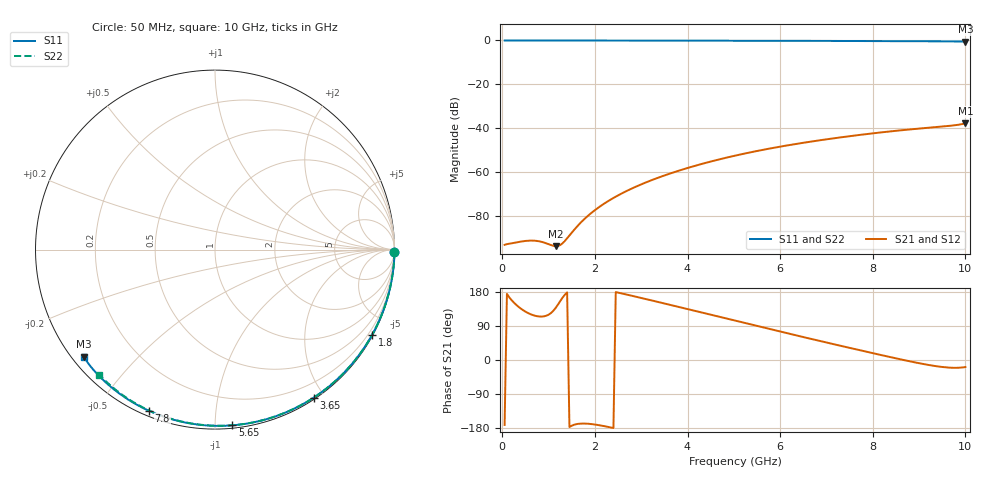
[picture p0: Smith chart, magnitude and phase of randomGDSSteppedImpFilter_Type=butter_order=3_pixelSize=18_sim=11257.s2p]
! freq	dB(S11)	phase(S11)	dB(S12)	phase(S12)
!  dB(S21)	phase(S21)	dB(S22)	phase(S22)
!S-par simulation data
#  GHz  S  DB  R 50
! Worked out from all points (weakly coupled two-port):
!   200 points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, 50 MHz to 10 GHz, reference 50 ohm
!   highest |S21| = -37.89 dB at 10 GHz (marker M1); lowest = -94.0 dB at 1.15 GHz (marker M2)
!   lowest |S11| = -0.5 dB at 10 GHz (marker M3), VSWR 34.01, Z = 1.66 - j17.8 ohm
!   |S11| at or under -10 dB: nowhere
!   |S22| runs from -0.5 to 0.0 dB; largest |S21 - S12| = 0
!   S11 on the Smith chart (normalised r, x): 50 MHz: open; 1.8 GHz: 0.03, -3.94; 3.65 GHz: 0.02, -1.87; 5.65 GHz: 0.02, -1.10; 7.8 GHz: 0.02, -0.67; 10 GHz: 0.03, -0.36
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0.05  -0.00 -0.8  -93.36 -171.3  -93.36 -171.3  -0.00 -0.8
0.6  -0.01 -9.6  -91.43 121.4  -91.43 121.4  -0.01 -9.2
1.15  -0.02 -18.3  -93.97 137.0  -93.97 137.0  -0.02 -17.5
1.75  -0.04 -27.7  -82.02 -167.7  -82.02 -167.7  -0.03 -26.5
1.8  -0.04 -28.5  -81.03 -167.8  -81.03 -167.8  -0.03 -27.3
1.85  -0.04 -29.3  -80.09 -168.2  -80.09 -168.2  -0.04 -28.0
2.15  -0.04 -33.9  -75.23 -173.4  -75.23 -173.4  -0.04 -32.4
2.35  -0.05 -37.0  -72.55 -178.2  -72.55 -178.2  -0.05 -35.4
2.55  -0.05 -40.0  -70.20 176.5  -70.20 176.5  -0.05 -38.3
2.95  -0.06 -46.0  -66.18 165.2  -66.18 165.2  -0.06 -44.1
3.4  -0.07 -52.7  -62.43 152.1  -62.43 152.1  -0.07 -50.5
3.65  -0.08 -56.4  -60.59 144.8  -60.59 144.8  -0.07 -54.0
4.3  -0.09 -65.7  -56.44 125.6  -56.44 125.6  -0.09 -63.0
5.05  -0.12 -76.2  -52.51 103.3  -52.51 103.3  -0.11 -73.0
5.65  -0.14 -84.4  -49.87 85.4  -49.87 85.4  -0.13 -80.8
6.15  -0.16 -91.0  -47.95 70.7  -47.95 70.7  -0.15 -87.2
6.7  -0.19 -98.2  -46.09 54.7  -46.09 54.7  -0.18 -94.1
7.8  -0.26 -112.2  -42.93 23.6  -42.93 23.6  -0.25 -107.4
8.35  -0.30 -119.1  -41.60 8.4  -41.60 8.4  -0.29 -113.8
9.3  -0.38 -131.0  -39.71 -15.0  -39.71 -15.0  -0.38 -124.8
9.75  -0.44 -137.0  -38.79 -20.6  -38.79 -20.6  -0.42 -129.9
10  -0.51 -140.8  -37.89 -18.6  -37.89 -18.6  -0.45 -132.8
